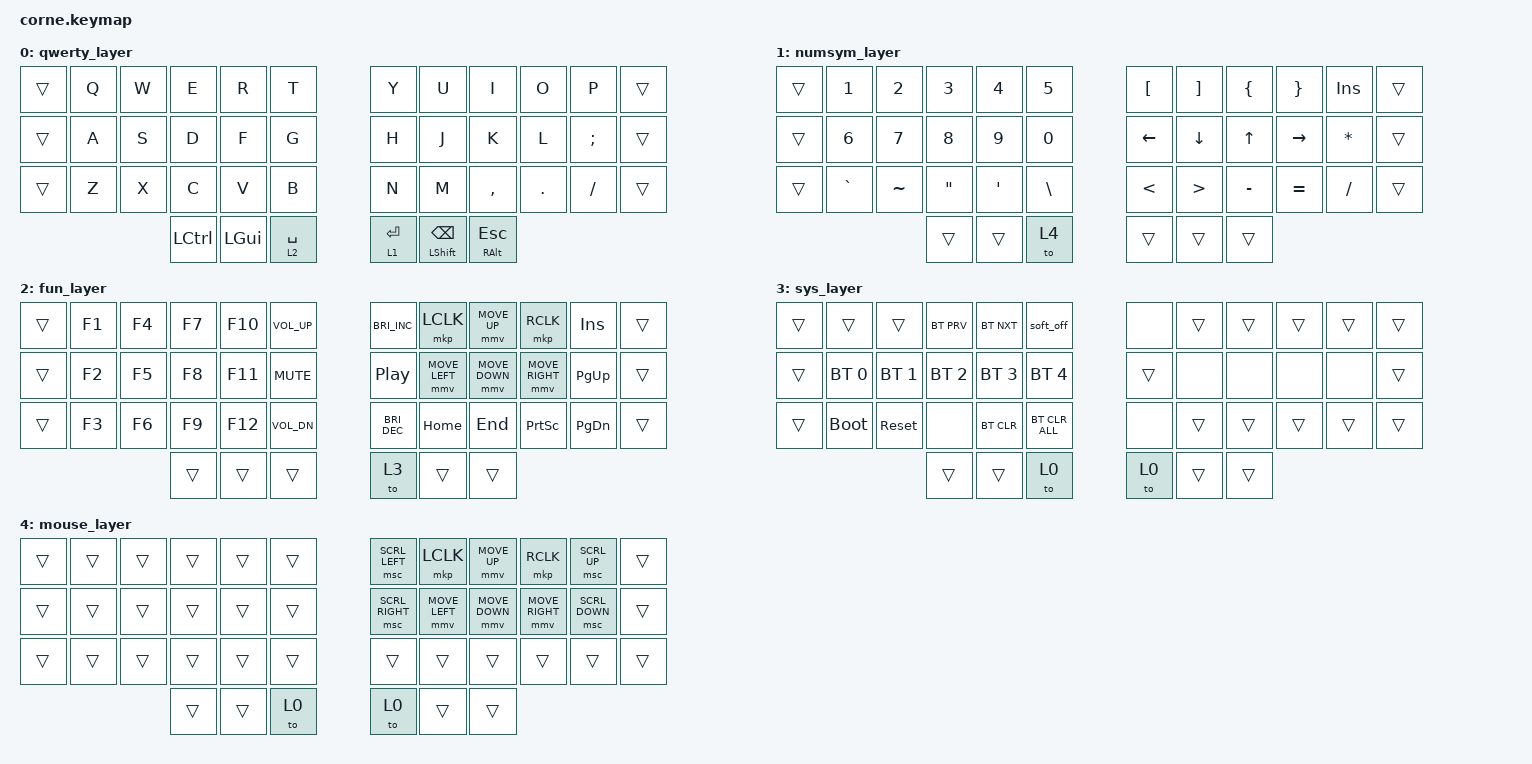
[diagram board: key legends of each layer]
/*
 * Copyright (c) 2020 The ZMK Contributors
 *
 * SPDX-License-Identifier: MIT
 */

#include <behaviors.dtsi>
#include <dt-bindings/zmk/bt.h>
#include <dt-bindings/zmk/keys.h>
#include <dt-bindings/zmk/pointing.h>

&soft_off {
    hold-time-ms = <5000>; // Only turn off it the key is held for 5 seconds or longer.
};

&soft_off { /delete-property/ split-peripheral-off-on-press; };

&mt {
    tapping-term-ms = <400>;
    quick-tap-ms = <175>;
    require-prior-idle-ms = <150>;
    flavor = "balanced";
};

&lt { tapping-term-ms = <400>; };

&mmv {
};

/ {
    combos {
        compatible = "zmk,combos";

        combo_esc {
            timeout-ms = <50>;
            key-positions = <1 2>;
            bindings = <&kp ESCAPE>;
        };

        combo_bksp {
            timeout-ms = <50>;
            key-positions = <10 9>;
            bindings = <&kp BACKSPACE>;
        };

        combo_tab {
            bindings = <&kp TAB>;
            key-positions = <13 14>;
        };

        combo_shift {
            bindings = <&kp LEFT_SHIFT>;
            key-positions = <25 26>;
        };

        combo_delete {
            bindings = <&kp DELETE>;
            key-positions = <21 22>;
        };

        combo_rshift {
            bindings = <&kp RIGHT_SHIFT>;
            key-positions = <33 34>;
        };

        exclm {
            bindings = <&kp EXCLAMATION>;
            key-positions = <1 13>;
        };

        at {
            bindings = <&kp AT_SIGN>;
            key-positions = <2 14>;
        };

        hash {
            bindings = <&kp HASH>;
            key-positions = <3 15>;
        };

        dllr {
            bindings = <&kp DOLLAR>;
            key-positions = <4 16>;
        };

        percnt {
            bindings = <&kp PERCENT>;
            key-positions = <5 17>;
        };

        caret {
            bindings = <&kp CARET>;
            key-positions = <6 18>;
        };

        and {
            bindings = <&kp AMPERSAND>;
            key-positions = <7 19>;
        };

        str {
            bindings = <&kp ASTERISK>;
            key-positions = <8 20>;
        };

        leftparen {
            bindings = <&kp LPAR>;
            key-positions = <9 21>;
        };

        rparen {
            bindings = <&kp RPAR>;
            key-positions = <10 22>;
        };

        layout_switch {
            bindings = <&tog 0>;
            key-positions = <36 37 40 41>;
        };

        system_reset {
            bindings = <&sys_reset>;
            key-positions = <3 4 5>;
        };

        bootloader {
            bindings = <&bootloader>;
            key-positions = <15 16 17>;
        };

        system_layer_combo {
            bindings = <&mo 3>;
            key-positions = <36 37>;
        };

        caps-lock {
            bindings = <&kt CAPSLOCK>;
            key-positions = <5 6>;
        };
    };

    conditional_layers { compatible = "zmk,conditional-layers"; };

    keymap {
        compatible = "zmk,keymap";

        qwerty_layer {
            bindings = <
&trans  &kp Q  &kp W  &kp E             &kp R         &kp T          &kp Y        &kp U                     &kp I              &kp O    &kp P     &trans
&trans  &kp A  &kp S  &kp D             &kp F         &kp G          &kp H        &kp J                     &kp K              &kp L    &kp SEMI  &trans
&trans  &kp Z  &kp X  &kp C             &kp V         &kp B          &kp N        &kp M                     &kp COMMA          &kp DOT  &kp FSLH  &trans
                      &kp LEFT_CONTROL  &kp LEFT_GUI  &lt 2 SPACE    &lt 1 ENTER  &mt LEFT_SHIFT BACKSPACE  &mt RIGHT_ALT ESC
            >;
        };

        numsym_layer {
            bindings = <
&trans  &kp N1        &kp N2     &kp N3   &kp N4   &kp N5          &kp LEFT_BRACKET  &kp RIGHT_BRACKET  &kp LEFT_BRACE  &kp RIGHT_BRACE  &kp INSERT    &trans
&trans  &kp NUMBER_6  &kp N7     &kp N8   &kp N9   &kp NUMBER_0    &kp LEFT          &kp DOWN           &kp UP          &kp RIGHT        &kp ASTERISK  &trans
&trans  &kp GRAVE     &kp TILDE  &kp DQT  &kp SQT  &kp BSLH        &kp LESS_THAN     &kp GREATER_THAN   &kp MINUS       &kp EQUAL        &kp SLASH     &trans
                                 &trans   &trans   &to 4           &trans            &trans             &trans
            >;
        };

        fun_layer {
            bindings = <
&trans  &kp F1  &kp F4  &kp F7  &kp F10  &kp C_VOL_UP    &kp C_BRIGHTNESS_INC  &mkp LCLK       &mmv MOVE_UP    &mkp RCLK        &kp INSERT     &trans
&trans  &kp F2  &kp F5  &kp F8  &kp F11  &kp C_MUTE      &kp C_PLAY_PAUSE      &mmv MOVE_LEFT  &mmv MOVE_DOWN  &mmv MOVE_RIGHT  &kp PG_UP      &trans
&trans  &kp F3  &kp F6  &kp F9  &kp F12  &kp C_VOL_DN    &kp C_BRIGHTNESS_DEC  &kp HOME        &kp END         &kp PRINTSCREEN  &kp PAGE_DOWN  &trans
                        &trans  &trans   &trans          &to 3                 &trans          &trans
            >;
        };

        sys_layer {
            bindings = <
&trans  &trans        &trans        &bt BT_PRV    &bt BT_NXT    &soft_off         &none   &trans  &trans  &trans  &trans  &trans
&trans  &bt BT_SEL 0  &bt BT_SEL 1  &bt BT_SEL 2  &bt BT_SEL 3  &bt BT_SEL 4      &trans  &none   &none   &none   &none   &trans
&trans  &bootloader   &sys_reset    &none         &bt BT_CLR    &bt BT_CLR_ALL    &none   &trans  &trans  &trans  &trans  &trans
                                    &trans        &trans        &to 0             &to 0   &trans  &trans
            >;
        };

        mouse_layer {
            bindings = <
&trans  &trans  &trans  &trans  &trans  &trans    &msc SCRL_LEFT   &mkp LCLK       &mmv MOVE_UP    &mkp RCLK        &msc SCRL_UP    &trans
&trans  &trans  &trans  &trans  &trans  &trans    &msc SCRL_RIGHT  &mmv MOVE_LEFT  &mmv MOVE_DOWN  &mmv MOVE_RIGHT  &msc SCRL_DOWN  &trans
&trans  &trans  &trans  &trans  &trans  &trans    &trans           &trans          &trans          &trans           &trans          &trans
                        &trans  &trans  &to 0     &to 0            &trans          &trans
            >;
        };
    };
};
